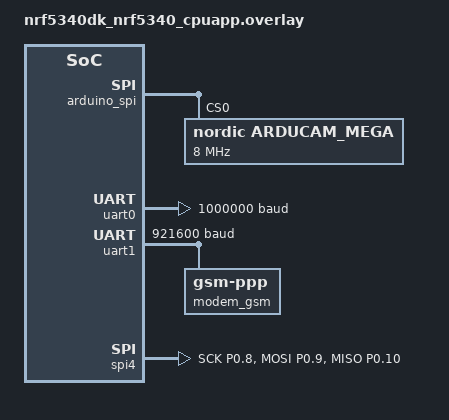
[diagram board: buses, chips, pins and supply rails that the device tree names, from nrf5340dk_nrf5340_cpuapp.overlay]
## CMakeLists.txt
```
# SPDX-License-Identifier: Apache-2.0

cmake_minimum_required(VERSION 3.20.0)
find_package(Zephyr REQUIRED HINTS $ENV{ZEPHYR_BASE})
project(blinky)

if(USE_DUMMY_CREDS)
  set(creds "src/creds/dummy.c")
else()
  if(NOT EXISTS ${APPLICATION_SOURCE_DIR}/src/creds/key.c OR
     NOT EXISTS ${APPLICATION_SOURCE_DIR}/src/creds/cert.c OR
     NOT EXISTS ${APPLICATION_SOURCE_DIR}/src/creds/ca.c)
    message(FATAL_ERROR
        "Credentials not found. Please run "
        "'python3 src/creds/convert_keys.py' before building"
    )
  endif()

  set(creds "src/creds/ca.c" "src/creds/key.c" "src/creds/cert.c")
endif()

target_sources(app PRIVATE "src/main.c")
target_sources(app PRIVATE "src/main_aws.c")
target_sources(app PRIVATE "src/main_camera.c")
target_sources(app PRIVATE "src/main_epoch.c")
target_sources(app PRIVATE "src/main_gsm.c" ${creds})


zephyr_include_directories(${APPLICATION_SOURCE_DIR}/src/tls_config)
```

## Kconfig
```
#
# Copyright (c) 2023 Lucas Dietrich <ld.adecy@gmail.com>
#
# SPDX-License-Identifier: Apache-2.0
#

menu "AWS"
mainmenu "AWS IoT Core MQTT sample application"

config AWS_ENDPOINT
	string "AWS endpoint"
	default ""
	help
		Endpoint (hostname) of the AWS MQTT broker.
		Note that the endpoint is different when using AWS Device Advisor.

config AWS_THING_NAME
	string "AWS Thing name"
	default "myThingName"
	help
		Set the AWS Thing name created on IoT Console

config AWS_SUBSCRIBE_TOPIC
	string "MQTT subscribe topic"
	default "myThingName/downlink"
	help
		MQTT topic the client should subscribe to.

config AWS_PUBLISH_TOPIC
	string "MQTT publish topic"
	default "myThingName/data"
	help
		MQTT topic the client should publish to.

choice AWS_TEST_SUITE
	prompt "Device Advisor test suite"
	default AWS_TEST_SUITE_NONE
	help
		Select the AWS Device Advisor test suite to run.
config AWS_TEST_SUITE_NONE
	bool "No test suite running"
config AWS_TEST_SUITE_DQP
	bool "Device Qualification Program (DQP)"
	help
		Make sure your region supports AWS Device Advisor for DQP
config AWS_TEST_SUITE_RECV_QOS1
	bool "Test suite for receiving QoS 1 messages"
	help
		For single test case "MQTT Client Puack QoS1"
endchoice

config AWS_QOS
	int "MQTT QoS"
	default 0 if AWS_TEST_SUITE_DQP
	default 1 if AWS_TEST_SUITE_RECV_QOS1
	default 0
	range 0 1
	help
		Quality of Service to use for publishing and subscribing to topics.
		Notes:
			- Use QoS 0 when passing DQP test suite
			- QoS 2 is not supported by AWS MQTT broker


config AWS_EXPONENTIAL_BACKOFF
	bool "enable exponential backoff"
	default n if AWS_TEST_SUITE_DQP || AWS_TEST_SUITE_RECV_QOS1
	default y
	help
		Enable AWS exponential backoff for reconnecting to AWS MQTT broker.

endmenu

source "Kconfig.zephyr"
```

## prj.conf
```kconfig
#for serial and logging
CONFIG_LOG=n
CONFIG_SERIAL=n
CONFIG_GPIO=y

CONFIG_LOG_BACKEND_UART=y
CONFIG_SPI=y
CONFIG_ARDUCAM_MEGA=y
CONFIG_STDOUT_CONSOLE=y
CONFIG_FLASH=y

# GSM modem support
CONFIG_MODEM=y
CONFIG_MODEM_GSM_PPP=y
CONFIG_MODEM_GSM_QUECTEL=y

# PPP networking support
CONFIG_NET_DRIVERS=y
CONFIG_NET_PPP=y
CONFIG_NET_L2_PPP=y
CONFIG_NET_NATIVE=y
CONFIG_NETWORKING=y
CONFIG_NET_L2_PPP_TIMEOUT=10000

# AWS
CONFIG_AWS_ENDPOINT="AWS_endpoint"
CONFIG_AWS_THING_NAME="Device_Thing_Name"
CONFIG_AWS_PUBLISH_TOPIC="Publish_Topic"
CONFIG_AWS_TEST_SUITE_DQP=n

CONFIG_MAIN_STACK_SIZE=135000

CONFIG_ENTROPY_GENERATOR=y
CONFIG_TEST_RANDOM_GENERATOR=y
CONFIG_INIT_STACKS=y
CONFIG_HW_STACK_PROTECTION=y
CONFIG_NEWLIB_LIBC=y
CONFIG_POSIX_API=y
CONFIG_POSIX_MAX_FDS=6
CONFIG_SNTP=y

# DNS
CONFIG_DNS_RESOLVER=y
CONFIG_DNS_RESOLVER_ADDITIONAL_BUF_CTR=2
CONFIG_DNS_RESOLVER_MAX_SERVERS=1
CONFIG_DNS_SERVER_IP_ADDRESSES=y
CONFIG_DNS_SERVER1="8.8.8.8"
CONFIG_NET_SOCKETS_DNS_TIMEOUT=5000
CONFIG_DNS_RESOLVER_LOG_LEVEL_DBG=n

# Generic networking options
CONFIG_NET_UDP=y
CONFIG_NET_TCP=y
CONFIG_NET_IPV6=y
CONFIG_NET_IPV4=y
CONFIG_NET_SOCKETS=y
CONFIG_NET_SOCKETS_SOCKOPT_TLS=y

# Network management events
CONFIG_NET_CONNECTION_MANAGER=y

CONFIG_NET_SHELL=y
CONFIG_MODEM_SHELL=y

CONFIG_MODEM_GSM_APN="data.apn.name"
# CONFIG_MODEM_SHELL_INFO=y
CONFIG_MODEM_SIM_NUMBERS=n

# Network buffers
CONFIG_NET_PKT_RX_COUNT=128
CONFIG_NET_PKT_TX_COUNT=128
CONFIG_NET_BUF_RX_COUNT=128
CONFIG_NET_BUF_TX_COUNT=128

#For Baud rate
CONFIG_NET_PPP_RINGBUF_SIZE=16384



# MQTT
CONFIG_MQTT_LIB=y
CONFIG_MQTT_LIB_TLS=y
CONFIG_MQTT_KEEPALIVE=15
CONFIG_AWS_QOS= 1
CONFIG_MBEDTLS=y
CONFIG_MBEDTLS_BUILTIN=y
CONFIG_MBEDTLS_ENABLE_HEAP=y
CONFIG_MBEDTLS_HEAP_SIZE=65536
CONFIG_MBEDTLS_SSL_MAX_CONTENT_LEN=16384
CONFIG_MBEDTLS_PEM_CERTIFICATE_FORMAT=y
CONFIG_MBEDTLS_USER_CONFIG_ENABLE=y
CONFIG_MBEDTLS_USER_CONFIG_FILE="user-tls.h"
CONFIG_MBEDTLS_SERVER_NAME_INDICATION=y
CONFIG_MBEDTLS_TLS_VERSION_1_2=y
CONFIG_MBEDTLS_MEMORY_DEBUG=n


#multithreading
CONFIG_MULTITHREADING=y
CONFIG_DATE_TIME=y
CONFIG_REBOOT=y
CONFIG_DATE_TIME_NTP=n
```

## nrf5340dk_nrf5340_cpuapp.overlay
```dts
&arduino_spi {
	label = "ARDUCAM_MEGA";
	arducam_mega: arducam_mega@0 {
		compatible = "nordic,arducam_mega";
		reg = <0>;
		spi-max-frequency = <8000000>;
	};
};

&uart0 {
	current-speed = <1000000>;
	status = "okay";
};

&pinctrl {
	uart1_default: uart1_default {
		group1 {
			psels = <NRF_PSEL(UART_TX, 1, 10)>;
		};
		group2 {
			psels = <NRF_PSEL(UART_RX, 1, 11)>;
			bias-pull-up;
		};
	};

	uart1_sleep: uart1_sleep {
		group1 {
			psels = <NRF_PSEL(UART_TX, 1, 10)>,
					<NRF_PSEL(UART_RX,1, 11)>;
			low-power-enable;
		};
	};

};
&uart1 {
	status = "okay";
	current-speed = <921600>;  // for US devices it should be 921600
	gsm: gsm-modem {
		status = "okay";
		compatible = "zephyr,gsm-ppp";
		label = "modem_gsm";
	};
};

&pinctrl {
	spi_master_default: spi_master_default {
		group1 {
			psels = <NRF_PSEL(SPIM_SCK, 0, 8)>,
			        <NRF_PSEL(SPIM_MOSI, 0, 9)>,
			        <NRF_PSEL(SPIM_MISO, 0, 10)>;
		};
	};

	spi_master_sleep: spi_master_sleep {
		group1 {
			psels = <NRF_PSEL(SPIM_SCK, 0, 8)>,
			        <NRF_PSEL(SPIM_MOSI, 0, 9)>,
			        <NRF_PSEL(SPIM_MISO, 0, 10)>;
			low-power-enable;
		};
	};
};

my_spi_master: &spi4 {
	compatible = "nordic,nrf-spim";
	status = "okay";
	pinctrl-0 = <&spi_master_default>;
	pinctrl-1 = <&spi_master_sleep>;
	pinctrl-names = "default", "sleep";
	cs-gpios = <&gpio0 11 GPIO_ACTIVE_LOW>;
	// reg_my_spi_master: spi-dev-a@0 {
	// 	reg = <0>;
	// };
};

// &pinctrl {
// 	i2c2_default: i2c2_default {
// 		group1 {
// 			psels = <NRF_PSEL(TWIM_SDA, 1, 2)>,
// 					<NRF_PSEL(TWIM_SCL, 1, 3)>;
// 		};
// 	};

// 	i2c2_sleep: i2c2_sleep {
// 		group1 {
// 			psels = <NRF_PSEL(TWIM_SDA, 1, 2)>,
// 					<NRF_PSEL(TWIM_SCL, 1, 3)>;
// 			low-power-enable;
// 		};
// 	};
// };
// &i2c2 {
// 	compatible = "nordic,nrf-twim";
// 	status = "okay";
// 	clock-frequency = <I2C_BITRATE_STANDARD>;
// 	maxim_max17048@36 {
// 		status = "okay";
// 		compatible = "maxim,max17048";
// 		reg = <0x36>;
// 		label = "MAX17048";
// 	};
// };



// &reset {
// 	status = "okay";
// };

// &ieee802154 {
// 	status = "okay";
// };

// &nvic {
// 	status = "okay";
// };
```

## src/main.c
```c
/*sdk version 2.5.1*/
#include <zephyr/kernel.h>
#include <stdio.h>
#include <string.h>
#include <zephyr/sys/printk.h>
#include <zephyr/drivers/gpio.h>
#include "headers/main_aws.h"
#include "headers/main_camera.h"
#include "headers/main_gsm.h"


// Initialization of led1 for GSM
#define LED1_NODE DT_ALIAS(led1)
static const struct gpio_dt_spec led1 = GPIO_DT_SPEC_GET(LED1_NODE, gpios);


int readIdx = 0x20000;
int writeIdx = 0;
int counter = 0;
int hr = 0;
int currentTime;
int flashLimit = 0x800000;
extern int camLightTime;

static void my_timer_cb(struct k_timer *mytime)
{

	currentTime = k_uptime_get();
	if (currentTime - camLightTime > 60000)
	{
		printk("time difference over 60 sec = %ld\n", currentTime - camLightTime);
		sys_reboot();
	}
	else
	{
		printk("time difference = %ld\n", currentTime - camLightTime);
	}
}

/*GSM requires a 300 msec of pull down to activate itself */
void gsm_enable()
{
	gpio_pin_configure_dt(&led, GPIO_OUTPUT | GPIO_ACTIVE_LOW);
	gpio_pin_set_dt(&led1, 0);
	K_MSEC(300);
	gpio_pin_set_dt(&led1, 1);
	K_MSEC(100);
}
struct k_timer my_timer;
void main(void)
{
	printk("Starting Board! %s\n", CONFIG_BOARD);
	k_timer_init(&my_timer, my_timer_cb, NULL);
	k_timer_start(&my_timer, K_SECONDS(30), K_SECONDS(30));
	init_camera();
	gsm_enable();
	init_gsm(&GSM_CONNECTED, &GSM_DISCONNECTED);
	init_aws();
	AWS_loop();
}
```

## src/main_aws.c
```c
/*sdk version 2.5.1*/

#include "creds/creds.h"
#include "headers/main_aws.h"
#include "headers/main_camera.h"
#include "headers/main_gsm.h"
#include "headers/main_epoch.h"
#include <time.h>
#include <poll.h>
#include <errno.h>
#include <stdio.h>
#include <stdlib.h>
#include <unistd.h>
#include <zephyr/pm/pm.h>
#include <zephyr/device.h>
#include <zephyr/kernel.h>
#include <zephyr/net/mqtt.h>
#include <zephyr/net/sntp.h>
#include <zephyr/sys/printk.h>
#include <zephyr/devicetree.h>
#include <zephyr/logging/log.h>
#include <zephyr/shell/shell.h>
#include <zephyr/net/net_core.h>
#include <zephyr/net/net_mgmt.h>
#include <zephyr/drivers/gpio.h>
#include <zephyr/net/net_event.h>
#include <zephyr/random/rand32.h>
#include <zephyr/net/dns_resolve.h>
#include <zephyr/net/tls_credentials.h>

// Initialization led3 for indication of publishing data to AWS
#define LED3_NODE DT_ALIAS(led3)
static const struct gpio_dt_spec led3 = GPIO_DT_SPEC_GET(LED3_NODE, gpios);

#define GSM_MODEM_NODE DT_COMPAT_GET_ANY_STATUS_OKAY(zephyr_gsm_ppp)
#define UART_NODE DT_BUS(GSM_MODEM_NODE)

static const struct device *const gsm_dev = DEVICE_DT_GET(GSM_MODEM_NODE);
static struct net_mgmt_event_callback mgmt_cb;

#if defined(CONFIG_MBEDTLS_MEMORY_DEBUG)
#include <mbedtls/memory_buffer_alloc.h>
#endif
#include <sys/socket.h>

static bool gsm_connected_aws = false;

#define SNTP_SERVER "0.pool.ntp.org"

#define AWS_BROKER_PORT "8883"

#define MQTT_BUFFER_SIZE 256u
#define APP_BUFFER_SIZE 0u

#define MAX_RETRIES 4u
#define BACKOFF_EXP_BASE_MS 1000u
#define BACKOFF_EXP_MAX_MS 60000u
#define BACKOFF_CONST_MS 5000u

static struct sockaddr_in aws_broker;

static uint8_t rx_buffer[MQTT_BUFFER_SIZE];
static uint8_t tx_buffer[MQTT_BUFFER_SIZE];
static uint8_t buffer[APP_BUFFER_SIZE]; /* Shared between published and received messages */

static struct mqtt_client client_ctx;

static const char mqtt_client_name[] = CONFIG_AWS_THING_NAME;

static uint32_t messages_received_counter;
static bool do_publish;	  /* Trigger client to publish */
static bool do_subscribe; /* Trigger client to subscribe */

#define TLS_TAG_DEVICE_CERTIFICATE 1
#define TLS_TAG_DEVICE_PRIVATE_KEY 1
#define TLS_TAG_AWS_CA_CERTIFICATE 1

extern struct k_mutex flash_mutex;


#define PUBLISH_PAYLOAD_SIZE 131072

extern int readIdx;
extern int writeIdx;
extern int counter;
extern int flashLimit;
K_SEM_DEFINE(ack_done_sem, 0, 1);

#include <stdio.h>
#include <string.h>

#include <zephyr/device.h>
#include <zephyr/devicetree.h>
#include <zephyr/drivers/flash.h>
#include <zephyr/zephyr.h>

static int var_memory = 0;

static sec_tag_t sec_tls_tags[] = {
	TLS_TAG_DEVICE_CERTIFICATE,
};

static int setup_credentials(void)
{
	int ret;

	ret = tls_credential_add(TLS_TAG_DEVICE_CERTIFICATE, TLS_CREDENTIAL_SERVER_CERTIFICATE,
							 public_cert, public_cert_len);
	if (ret < 0)
	{
		printk("Failed to add device certificate: %d", ret);
		goto exit;
	}

	ret = tls_credential_add(TLS_TAG_DEVICE_PRIVATE_KEY, TLS_CREDENTIAL_PRIVATE_KEY,
							 private_key, private_key_len);
	if (ret < 0)
	{
		printk("Failed to add device private key: %d", ret);
		goto exit;
	}

	ret = tls_credential_add(TLS_TAG_AWS_CA_CERTIFICATE, TLS_CREDENTIAL_CA_CERTIFICATE, ca_cert,
							 ca_cert_len);
	if (ret < 0)
	{
		printk("Failed to add device private key: %d", ret);
		goto exit;
	}

exit:
	return ret;
}

static int publish_message(const char *topic, size_t topic_len, uint8_t *payload,
						   size_t payload_len)
{

	static uint32_t message_id = 1u;

	int ret;
	struct mqtt_publish_param msg;

	msg.retain_flag = 0u;
	msg.message.topic.topic.utf8 = topic;
	msg.message.topic.topic.size = topic_len;
	msg.message.topic.qos = CONFIG_AWS_QOS;
	msg.message.payload.data = payload;
	msg.message.payload.len = payload_len;
	msg.message_id = message_id++;

	ret = mqtt_publish(&client_ctx, &msg);
	if (ret != 0)
	{
		printk("Failed to publish message: %d", ret);
		gpio_pin_configure_dt(&led3, GPIO_OUTPUT | GPIO_ACTIVE_LOW);
		gpio_pin_set_dt(&led3, 0);
		k_sleep(K_MSEC(100));
		return ret;
	}
	else
	{
		messages_received_counter++;

		printk("PUBLISHED on topic \"%s\" [ id: %u qos: %u ], payload: %u B", topic, msg.message_id,
			   msg.message.topic.qos, payload_len);
	}

	k_sleep(K_MSEC(500));

	return ret;
}

static ssize_t handle_published_message(const struct mqtt_publish_param *pub)
{
	int ret;
	size_t received = 0u;
	const size_t message_size = pub->message.payload.len;
	const bool discarded = message_size > APP_BUFFER_SIZE;

	printk("RECEIVED on topic \"%s\" [ id: %u qos: %u ] payload: %u / %u B",
		   (const char *)pub->message.topic.topic.utf8, pub->message_id, pub->message.topic.qos,
		   message_size, APP_BUFFER_SIZE);

	while (received < message_size)
	{
		uint8_t *p = discarded ? buffer : &buffer[received];

		ret = mqtt_read_publish_payload_blocking(&client_ctx, p, APP_BUFFER_SIZE);
		if (ret < 0)
		{
			return ret;
		}

		received += ret;
	}

	/* Send ACK */
	switch (pub->message.topic.qos)
	{
	case MQTT_QOS_1_AT_LEAST_ONCE:
	{
		struct mqtt_puback_param puback;

		puback.message_id = pub->message_id;
		mqtt_publish_qos1_ack(&client_ctx, &puback);
	}
	break;
	case MQTT_QOS_2_EXACTLY_ONCE: /* unhandled (not supported by AWS) */
	case MQTT_QOS_0_AT_MOST_ONCE: /* nothing to do */
	default:
		break;
	}

	return discarded ? -ENOMEM : received;
}

const char *mqtt_evt_type_to_str(enum mqtt_evt_type type)
{
	static const char *const types[] = {
		"CONNACK",
		"DISCONNECT",
		"PUBLISH",
		"PUBACK",
		"PUBREC",
		"PUBREL",
		"PUBCOMP",
		"SUBACK",
		"UNSUBACK",
		"PINGRESP",
	};

	return (type < ARRAY_SIZE(types)) ? types[type] : "<unknown>";
}

static void mqtt_event_cb(struct mqtt_client *client, const struct mqtt_evt *evt)
{
	printk("MQTT event: %s [%u] result: %d", mqtt_evt_type_to_str(evt->type), evt->type,
		   evt->result);

	switch (evt->type)
	{
	case MQTT_EVT_CONNACK:
	{
		// do_subscribe = true;
		do_publish = true;
	}
	break;

	case MQTT_EVT_PUBLISH:
	{
		const struct mqtt_publish_param *pub = &evt->param.publish;

		handle_published_message(pub);
		messages_received_counter++;
#if !defined(CONFIG_AWS_TEST_SUITE_RECV_QOS1)
		do_publish = true;
#endif
	}
	break;

	case MQTT_EVT_SUBACK:
	{
#if !defined(CONFIG_AWS_TEST_SUITE_RECV_QOS1)
		do_publish = true;
#endif
	}
	break;

	case MQTT_EVT_PUBACK:
	{
	    /*Receiving Acknowledgement*/
		printk("\nPUBACK received, flash @ %08x -> ", readIdx);
		readIdx = readIdx + PUBLISH_PAYLOAD_SIZE;
		printk("%08x \n", readIdx);
	}
	break;

	case MQTT_EVT_DISCONNECT:
	case MQTT_EVT_PUBREC:
	case MQTT_EVT_PUBREL:
	case MQTT_EVT_PUBCOMP:
	case MQTT_EVT_PINGRESP:
	case MQTT_EVT_UNSUBACK:
	default:
		break;
	}
}

static void aws_client_setup(void)
{
	mqtt_client_init(&client_ctx);

	client_ctx.broker = &aws_broker;
	client_ctx.evt_cb = mqtt_event_cb;

	client_ctx.client_id.utf8 = (uint8_t *)mqtt_client_name;
	client_ctx.client_id.size = sizeof(mqtt_client_name) - 1;
	client_ctx.password = NULL;
	client_ctx.user_name = NULL;

	client_ctx.keepalive = CONFIG_MQTT_KEEPALIVE;

	client_ctx.protocol_version = MQTT_VERSION_3_1_1;

	client_ctx.rx_buf = rx_buffer;
	client_ctx.rx_buf_size = MQTT_BUFFER_SIZE;
	client_ctx.tx_buf = tx_buffer;
	client_ctx.tx_buf_size = MQTT_BUFFER_SIZE;

	/* setup TLS */
	client_ctx.transport.type = MQTT_TRANSPORT_SECURE;
	struct mqtt_sec_config *const tls_config = &client_ctx.transport.tls.config;

	tls_config->peer_verify = TLS_PEER_VERIFY_REQUIRED;
	tls_config->cipher_list = NULL;
	tls_config->sec_tag_list = sec_tls_tags;
	tls_config->sec_tag_count = ARRAY_SIZE(sec_tls_tags);
	tls_config->hostname = CONFIG_AWS_ENDPOINT;
	tls_config->cert_nocopy = TLS_CERT_NOCOPY_NONE;
}

struct backoff_context
{
	uint16_t retries_count;
	uint16_t max_retries;

#if defined(CONFIG_AWS_EXPONENTIAL_BACKOFF)
	uint32_t attempt_max_backoff; /* ms */
	uint32_t max_backoff;		  /* ms */
#endif
};

static void backoff_context_init(struct backoff_context *bo)
{
	__ASSERT_NO_MSG(bo != NULL);

	bo->retries_count = 0u;
	bo->max_retries = MAX_RETRIES;

#if defined(CONFIG_AWS_EXPONENTIAL_BACKOFF)
	bo->attempt_max_backoff = BACKOFF_EXP_BASE_MS;
	bo->max_backoff = BACKOFF_EXP_MAX_MS;
#endif
}

/* https://aws.amazon.com/blogs/architecture/exponential-backoff-and-jitter/ */
static void backoff_get_next(struct backoff_context *bo, uint32_t *next_backoff_ms)
{
	__ASSERT_NO_MSG(bo != NULL);
	__ASSERT_NO_MSG(next_backoff_ms != NULL);

#if defined(CONFIG_AWS_EXPONENTIAL_BACKOFF)
	if (bo->retries_count <= bo->max_retries)
	{
		*next_backoff_ms = sys_rand32_get() % (bo->attempt_max_backoff + 1u);

		/* Calculate max backoff for the next attempt (~ 2**attempt) */
		bo->attempt_max_backoff = MIN(bo->attempt_max_backoff * 2u, bo->max_backoff);
		bo->retries_count++;
	}
#else
	*next_backoff_ms = BACKOFF_CONST_MS;
#endif
}

static int aws_client_try_connect(void)
{
	int ret = -1;
	uint32_t backoff_ms;
	struct backoff_context bo;

	backoff_context_init(&bo);

	while (bo.retries_count <= bo.max_retries)
	{
		ret = mqtt_connect(&client_ctx);
		if (ret == 0)
		{
			/* MQTT  connected */
			gpio_pin_configure_dt(&led3, GPIO_OUTPUT | GPIO_ACTIVE_LOW);
			gpio_pin_set_dt(&led3, 1);
			K_MSEC(100);
			goto exit;
		}

		backoff_get_next(&bo, &backoff_ms);

		printk("Failed to connect: %d backoff delay: %u ms", ret, backoff_ms);
		k_msleep(backoff_ms);
		gpio_pin_configure_dt(&led7, GPIO_OUTPUT | GPIO_ACTIVE_LOW);
		gpio_pin_set_dt(&led7, 0);

		K_MSEC(100);
	}

exit:
	return ret;
}

struct publish_payload
{
	uint32_t counter;
};

int publish(void)
{
	/* The length of data reading from flash is 1024*64 bytes */
	const size_t len = PUBLISH_PAYLOAD_SIZE;

	uint8_t buf[PUBLISH_PAYLOAD_SIZE];

	/* Declaring the buf[64 KB] which stores the data coming from flash inside it. */

	// Defining the flash device.
	const struct device *flash_dev;
	flash_dev = DEVICE_DT_GET(DT_ALIAS(spi_flash0));

	// Checking if the device is ready or not.
	if (!device_is_ready(flash_dev))
	{
		printk("%s: device not ready.\n", flash_dev->name);
	}

	int rc;
	memset(buf, 0, len);

	if (readIdx >= flashLimit)
	{
		readIdx = 0;
	}

	printk("flash reading from index: %08x \n", readIdx);
	rc = flash_read(flash_dev, readIdx, buf, len);

	if (rc != 0)
	{
		printf("Flash read failed! %d\n", rc);
		return 1; // Return an error code
	}

	// log the buffer;s initial 16 bytes
	printk("\npublishing head:");
	// imgID, DEV_ID, FragID, TotalFrag
	printk("%02x(%d) %02x %02x %02x \n\n", buf[14], buf[14], buf[1], buf[2], buf[3]);

	int pub_ret = -1;

	pub_ret = publish_message(CONFIG_AWS_PUBLISH_TOPIC, strlen(CONFIG_AWS_PUBLISH_TOPIC), buf,
							  len);

	k_msleep(100);

	return pub_ret;
}

void aws_client_loop(void)
{
	int rc;
	int timeout;
	struct pollfd fds;

	printk("setting up client\n");
	aws_client_setup();
	printk("client setup done\n");

	if (gsm_connected_aws)
	{
		printk("GSM_CONNECTED_AWS ..............\n");
		printk("connecting...\n");
		rc = aws_client_try_connect();

		if (rc != 0)
		{
			goto cleanup;
		}
	}
	else
	{
		goto cleanup;
	}

	printk("client connected\n");

	fds.fd = client_ctx.transport.tcp.sock;
	fds.events = POLLIN | POLLHUP | POLLERR;

	for (;;)
	{
		printk("\nTrying publishing....\n");
		timeout = mqtt_keepalive_time_left(&client_ctx);
		rc = poll(&fds, 1u, timeout);
		if (rc >= 0)
		{
			if (fds.revents & POLLIN)
			{
				rc = mqtt_input(&client_ctx);
				if (rc != 0)
				{
					printk("Failed to read MQTT input: %d\n", rc);
					/* MQTT not connected */
					break;
				}
			}

			rc = mqtt_live(&client_ctx);
			if ((rc != 0) && (rc != -EAGAIN))
			{
				printk("Failed to live MQTT: %d\n", rc);
				/* MQTT not connected */

				break;
			}
		}
		else
		{
			printk("poll failed: %d", rc);
			break;
		}

		if (do_publish)
		{
			printk("\ndo publish true! \n\n");
			while (1)
			{

				if (writeIdx < readIdx)
				{
					var_memory = flashLimit;
				}
				else
				{
					var_memory = 0;
				}
				/*Continuously checks the flash before publishing*/
				if (writeIdx - readIdx + var_memory >= PUBLISH_PAYLOAD_SIZE)
				{
					break;
				}
				k_msleep(100);
			}

			{
				printk("\n publishing data address: %08x \n", readIdx);
				publish();
			}
		}
	}

cleanup:
	mqtt_disconnect(&client_ctx);
	close(fds.fd);
	fds.fd = -1;
}

int sntp_sync_time(void)
{

	int rc;
	struct sntp_time now;
	struct timespec tspec;

	rc = sntp_simple(SNTP_SERVER, SYS_FOREVER_MS, &now);
	printk("\n Value in SNTP = %x\n", now.seconds);
	if (rc == 0)
	{
		printk("\n Value in SNTP = %d", now.seconds);
		tspec.tv_sec = now.seconds;
		tspec.tv_nsec = ((uint64_t)now.fraction * (1000lu * 1000lu * 1000lu)) >> 32;

		clock_settime(CLOCK_REALTIME, &tspec);

		printk("Acquired time from NTP server: %u", (uint32_t)tspec.tv_sec);
	}
	else
	{
		printk("Failed to acquire SNTP, code %d\n", rc);
	}
	return rc;
}

static int resolve_broker_addr(struct sockaddr_in *broker)
{
	int ret;
	struct zsock_addrinfo *ai = NULL;

	const struct zsock_addrinfo hints = {
		.ai_family = AF_INET,
		.ai_socktype = SOCK_STREAM,
		.ai_protocol = 0,
	};

	ret = zsock_getaddrinfo(CONFIG_AWS_ENDPOINT, AWS_BROKER_PORT, &hints, &ai);

	if (ret == 0)
	{
		printk("copying memory\n");
		memcpy(broker, ai->ai_addr, MIN(ai->ai_addrlen, sizeof(struct sockaddr_storage)));

		char addr_str[INET_ADDRSTRLEN];

		zsock_inet_ntop(AF_INET, &broker->sin_addr, addr_str, sizeof(addr_str));
		printk("Resolved: %s:%u", addr_str, htons(broker->sin_port));
	}
	else
	{
		//nothing to do
	}

	zsock_freeaddrinfo(ai);

	return ret;
}

void init_aws(void)
{
	printk("Init... aws\n");

	dns_init_resolver();

	sntp_sync_time();

	setup_credentials();

	printk("Initialised aws\n");
}

void GSM_CONNECTED(void)
{
	gsm_connected_aws = true;
}

void GSM_DISCONNECTED(void)
{
	gsm_connected_aws = false;
}

void AWS_loop(void)
{

	for (;;)
	{
		resolve_broker_addr(&aws_broker);
		aws_client_loop();
#if defined(CONFIG_MBEDTLS_MEMORY_DEBUG)
		size_t cur_used, cur_blocks, max_used, max_blocks;

		mbedtls_memory_buffer_alloc_cur_get(&cur_used, &cur_blocks);
		mbedtls_memory_buffer_alloc_max_get(&max_used, &max_blocks);
		printk("mbedTLS heap usage: MAX %u/%u (%u) CUR %u (%u)", max_used,
			   CONFIG_MBEDTLS_HEAP_SIZE, max_blocks, cur_used, cur_blocks);
#endif

		k_sleep(K_SECONDS(1));
	}

	return;
}
```

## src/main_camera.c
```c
/*sdk version 2.5.1*/
#include "headers/cam_headers/arducam_mega.h"
#include "headers/main_aws.h"
#include "headers/main_camera.h"
#include "headers/main_gsm.h"
#include "headers/main_epoch.h"
#include <string.h>
#include <zephyr/device.h>
#include <zephyr/devicetree.h>
#include <zephyr/drivers/flash.h>
#include <zephyr/kernel.h>
#include <zephyr/logging/log.h>
#include <zephyr/net/sntp.h>
#include <zephyr/sys/printk.h>
#include <zephyr/zephyr.h>

#include <date_time.h>
#include <zephyr/drivers/gpio.h>
#include <zephyr/pm/pm.h>
#include <stdio.h>
#include <time.h>

// Flash Sector Size
#define SPI_FLASH_SECTOR_SIZE 4096
// MQTT Payload Size
#define FRAGMENT_SIZE 131072

#define DEV_ID 0x28
#define GRP_ID 0x01

#define CHUNK_SIZE 128

#define STACKSIZE 8192
#define CAMERA_THREAD_PRIORITY 7

/* Defining the mutex as to lock the flash while reading and writing and then unlocking it. */
K_MUTEX_DEFINE(flash_mutex);

#define LED1_NODE DT_ALIAS(led0)
static const struct gpio_dt_spec led1 = GPIO_DT_SPEC_GET(LED1_NODE, gpios);

extern int writeIdx;
extern int flashLimit;
extern int counter;
int writeIdxOld = 0;
int memVar = 0;

int cam_light_time;
static uint8_t battery_percentage = 0;

const struct device *camera_device;
const struct device *flash_dev;
// const struct device *const battery_dev = DEVICE_DT_GET_ANY(maxim_max17048);

static uint8_t image_id_counter = 0;
extern int hr;
int sleep_time = 3; // must be -5:30 hrs  14 for 7:30 pm INDIA ||  1 is for 6:00pm in USA
int wakeup_time = 15; // must be -5:30 hrs  24  for 5:30 am INDIA ||12 is for 5:00am in US

void camera_start(void)
{
	gpio_pin_configure_dt(&led1, GPIO_OUTPUT | GPIO_ACTIVE_LOW);
	int rc; // to store return values of functions
	int epochArr[10] = {0};

	while (1)
	{
		uint8_t time_arr[10];
		setting_epoch();
		get_epoch(epochArr);
		printk("hr is %d\n:", hr);
		/*this loop is for the sleep at night time*/

		if (hr != 0)
		{

			while ((sleep_time < wakeup_time && hr >= sleep_time && hr < wakeup_time) ||
				   (sleep_time > wakeup_time && (hr >= sleep_time || hr < wakeup_time)))
			{
				printk("\nIt's sleep time : ");
				printk("%d", hr);
				k_sleep(K_SECONDS(30));
				cam_light_time = k_uptime_get();
				setting_epoch();
				get_epoch(epochArr);
			}
		}

		printf("Attempting to take picture...\n\n ");

		gpio_pin_set_dt(&led1, 1);
		K_MSEC(200);
		cam_light_time = k_uptime_get();

		arducam_mega_take_picture(camera_device, CAM_IMAGE_MODE_HD, CAM_IMAGE_PIX_FMT_JPG);

		image_id_counter = ((image_id_counter) % 255) + 1;

		gpio_pin_set_dt(&led1, 0);
		K_MSEC(200);

		// Initializing camera buffer 128bytes
		uint8_t cam_buff[CHUNK_SIZE];

		// Initialization variables for storing total bytes read from camera buffer
		// and number of times loop executed to read 128 bytes
		uint8_t bytes_read;
		uint16_t number_of_times_loop = 0;

		do
		{

			/* Erasing flash with sector size defined above */
			if (writeIdx % SPI_FLASH_SECTOR_SIZE == 0)
			{

				if (writeIdx >= flashLimit)
				{
					writeIdx = 0;
				}

				k_mutex_lock(&flash_mutex, K_FOREVER);
				rc = flash_erase(flash_dev, writeIdx, SPI_FLASH_SECTOR_SIZE);
				k_mutex_unlock(&flash_mutex);

				if (rc != 0)
				{
					printk("Flash erase failed with error code %d\n", rc);
					return;
				}

				// Leaving 1024 bytes at staring of each 128KB for overhead detiles of images later
				if (writeIdx % FRAGMENT_SIZE == 0)
				{

					writeIdx = writeIdx + CHUNK_SIZE;
				}
			}

			/* reading CHUNK_SIZE bytes of data from the camera and storing it in */

			bytes_read = arducam_mega_read_image_buf(camera_device, cam_buff, CHUNK_SIZE);
			const size_t leng = sizeof(cam_buff);
			k_mutex_lock(&flash_mutex, K_FOREVER);
			rc = flash_write(flash_dev, writeIdx, cam_buff, leng);
			k_mutex_unlock(&flash_mutex);
			if (rc != 0)
			{
				printk("Flash write failed with error code %d\n", rc);
				return;
			} 

			// Increasing flash memory 128bytes to store next 128bytes of camera buffer
			writeIdx = writeIdx + CHUNK_SIZE;
			number_of_times_loop++;
			if (number_of_times_loop >= 6400)
				sys_reboot();

		} while (bytes_read > 0);

		// Calculating value of memory address (i1) in flash at which
		// last byte of data of camera buffer is stored
		int next_sector_offset = (writeIdx % FRAGMENT_SIZE);

		// Increasing the index of flash memory to starting of next 16KB
		writeIdx = writeIdx + (FRAGMENT_SIZE - next_sector_offset);

		// Dividing i1 with 	128 as to take just 1 byte of memory in flash
		// it is valid for upto value 32640
		uint16_t next_sector_offset_enc = next_sector_offset / 512;

		// Initializing the id of first chunk to 1
		int FRAG_ID = 1;

		// Check whether the write index is jump to 0 location again
		if (writeIdxOld > writeIdx)
		{

			memVar = flashLimit;
		}
		else
		{

			memVar = 0;
		}

		// Calculating total fragment of 16KB made for stoing an image
		int TOTAL_FRAG = (memVar + writeIdx - writeIdxOld) / FRAGMENT_SIZE;

		// Initializing a variable to get the index of overhead which is at stating of each 16KB
		int TOTAL_FRAG_LOOP = TOTAL_FRAG;
		printk("TOTAL FRAG %d \n", TOTAL_FRAG);

		// Reassiging the current write index value to another variable to calculate
		// the difference of memory consumed for next time
		writeIdxOld = writeIdx;

		// Loop to get index of overhead loccation
		while (TOTAL_FRAG_LOOP > 0)
		{

			int OV_loc = writeIdx - (TOTAL_FRAG_LOOP * FRAGMENT_SIZE);

			// Check when some part of image is saved at end of flash
			// and rest of part is saved at top
			// in that case the overhead location will be negative
			if (OV_loc < 0)
			{

				OV_loc = flashLimit + OV_loc;
			}

			uint8_t arr_oh[32] = {0}; // array to store the 16 bytes of overhead
			arr_oh[0] = next_sector_offset_enc;
			arr_oh[1] = DEV_ID;
			arr_oh[2] = FRAG_ID;
			arr_oh[3] = TOTAL_FRAG;

			// appending the timestamp as 10 bytes into the overhead array to be written
			// in the memory

			for (int i = 0; i < 10; i++)
				arr_oh[i + 4] = epochArr[i];

			// set the image id counter
			arr_oh[14] = image_id_counter;
			arr_oh[15] = GRP_ID;
			const size_t leng = sizeof(arr_oh);

			// offset writeIdx_oh must be a multiple of 4 since the minimum write
			k_mutex_lock(&flash_mutex, K_FOREVER);
			rc = flash_write(flash_dev, OV_loc, arr_oh, leng);
			k_mutex_unlock(&flash_mutex);
			if (rc != 0)
			{
				printk("Flash write for sector offset failed with error code %d\n", rc);
				return;
			}
			TOTAL_FRAG_LOOP = TOTAL_FRAG_LOOP - 1;
			FRAG_ID = FRAG_ID + 1; // increasing image ID
		}
		printf("Going to sleep for 20 sec.\n");
		k_sleep(K_SECONDS(20));
	}
}

void init_camera(void)
{
	// Initializing flash memory
	flash_dev = DEVICE_DT_GET(DT_ALIAS(spi_flash0));

	if (!device_is_ready(flash_dev))
	{
		printk("ERROR: %s: device not ready.\n", flash_dev->name);
		return;
	}

	// Initializing camera device
	camera_device = device_get_binding(DT_NODE_FULL_NAME(DT_NODELABEL(arducam_mega)));
	if (camera_device == 0)
	{
		printk("ERROR: Camera device not found!\n");
		return;
	}

	printk("Camera Module Initialsied successfully!!\n");
}

// start the thread immediately
K_THREAD_DEFINE(camera_thread_id, STACKSIZE, camera_start, NULL, NULL, NULL, CAMERA_THREAD_PRIORITY,
				0, 0);
```

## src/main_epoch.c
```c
#include "headers/cam_headers/arducam_mega.h"
#include "headers/main_aws.h"
#include "headers/main_camera.h"
#include "headers/main_gsm.h"
#include "headers/main_epoch.h"

#include <string.h>

#include <zephyr/device.h>
#include <zephyr/devicetree.h>
#include <zephyr/drivers/flash.h>
#include <zephyr/kernel.h>
#include <zephyr/logging/log.h>
#include <zephyr/net/sntp.h>
#include <zephyr/sys/printk.h>
#include <zephyr/zephyr.h>

#include <date_time.h>
#include <zephyr/device.h>
#include <zephyr/drivers/gpio.h>
#include <zephyr/pm/pm.h>
#include <zephyr/zephyr.h>

#include <stdio.h>
#include <time.h>

static int connection_flag = 0;
static int64_t adv_seconds = 0;
extern int hr;

void setting_epoch(void)
{
    struct tm adv_time;
    /* Data validation in if statement date can be between 0 and 31. Hour can be in 0 and 24 and seconds can be less than 60. */
    if (connection_flag < 1 && date_1byte() >= 0 && date_1byte() <= 31 && hour_1byte() >= 0 && hour_1byte() <= 24 && sec_1byte() <= 60)
    {
        /* Adding the time stamp is struct tm adv_time. */
        adv_time.tm_year = year_1byte();
        adv_time.tm_hour = hour_1byte();
        adv_time.tm_min = min_1byte();
        adv_time.tm_mon = mon_1byte();
        adv_time.tm_sec = sec_1byte();
        adv_time.tm_mday = date_1byte();

        // struct tm *timeinfo = adv_time.tm_hour;
        // hr = hour_1byte();
        /* Setting the adv_time as reference time */
        date_time_set(&adv_time);

        /* Time updation for real time access. */
        int error = date_time_update_async(NULL);

        /* To make it run only once. */
        connection_flag++;
    }
    /* Time Updation either Uptime or Epoch time. */
    /* adv_seconds contains the time since epoch unix (1 jan 1970) with resolution in milliseconds. */
    // int64_t adv_seconds = 0;
    /* If the GSM is not connected then this piece will use the k_uptime_get() (--> that is the time (in ms ) after system reboot.) as the time stamp. */
    if (connection_flag < 1)
    {
        // printk("in uptime get");

        /*  In case the GSM is not connected after the system REBOOT.
            Getting the uptime and storing it in the same variable as adv_seconds.
            Resolution of k_uptime_get() is in ms. */
        adv_seconds = 0;
    }
    else
    {
        /* To update the time whenever the advertising packet from node is recieved and then using them as time stamp. */
        // printk("epoch time updated\n");
        date_time_now(&adv_seconds);
    }
}

void get_epoch(int arr[])
{
    /* divisor epoch is 10^13. */
    int t_arr[10]={0};
    int64_t divisor_epoch = 1000000000000;
    k_msleep(100);
    // printk("Epoch Time is: ");
    for (int epoch = 0; epoch < 10; epoch++)
    {
        /* Appending the time stamp in  write_array at the last. Only once single digit number goes at one time. */
        arr[epoch] = (uint8_t)((adv_seconds / divisor_epoch) % 10);
        // printk("%d",arr[epoch]);

        /* Going to lower indices side by side. */
        divisor_epoch = divisor_epoch / 10;
        t_arr[epoch]=arr[epoch];
    }
    // printk("\n\n");
    char time_str[11]; // Adjust the size based on your needs
    int offset = 0;    // Offset in the string

    for (int i = 0; i < 10; ++i)
    {
        // Append each element to the string
        offset += sprintf(time_str + offset, "%u", t_arr[i]);
    }

    time_str[sizeof(time_str) - 1] = '\0';

    /*Converting string array to integer*/
    int result = atoi(time_str);

    time_t epoch_time = result;
    struct tm *timeinfo = gmtime(&epoch_time);
    hr = ((timeinfo->tm_hour) % 24);
}
```

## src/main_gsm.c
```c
/*sdk version 2.5.1*/
#include <zephyr/kernel.h>
#include <zephyr/sys/printk.h>
#include <zephyr/shell/shell.h>
#include <zephyr/drivers/uart.h>
#include <zephyr/net/net_mgmt.h>
#include <zephyr/net/net_event.h>
#include <zephyr/net/net_core.h>
#include <zephyr/devicetree.h>
#include <zephyr/net/ppp.h>
#include <zephyr/drivers/modem/gsm_ppp.h>
#include <zephyr/logging/log.h>
#include "headers/main_aws.h"
#include "headers/main_camera.h"
#include "headers/main_epoch.h"
#include "headers/main_gsm.h"

/* GPIO led code */
#include <zephyr/drivers/gpio.h>
#include <zephyr/pm/pm.h>
#include <zephyr/device.h>


// Initialization led2 for GSM connected
#define LED2_NODE DT_ALIAS(led2)
static const struct gpio_dt_spec led2 = GPIO_DT_SPEC_GET(LED2_NODE, gpios);


#define GSM_MODEM_NODE DT_COMPAT_GET_ANY_STATUS_OKAY(zephyr_gsm_ppp)
#define UART_NODE DT_BUS(GSM_MODEM_NODE)

static const struct device *const gsm_dev = DEVICE_DT_GET(GSM_MODEM_NODE);
static struct net_mgmt_event_callback mgmt_cb;

static void (*gsm_connected_gsm)();
static void (*gsm_disconnected_gsm)();

static void event_handler(struct net_mgmt_event_callback *cb,
						  uint32_t mgmt_event, struct net_if *iface)
{
	ARG_UNUSED(cb);
	ARG_UNUSED(iface);

	if ((mgmt_event & (NET_EVENT_L4_CONNECTED | NET_EVENT_L4_DISCONNECTED)) != mgmt_event)
	{
		return;
	}

	if (mgmt_event == NET_EVENT_L4_CONNECTED)
	{
		printk("Network connected");
		(*gsm_connected_gsm)(NULL);
		printk("LED 4 IS HIGH\n");
		gpio_pin_configure_dt(&led2, GPIO_OUTPUT | GPIO_ACTIVE_LOW);
		gpio_pin_set_dt(&led2, 1);
		K_MSEC(100);
		//(void)gsm_query_local_time(gsm_dev);
		return;
	}

	if (mgmt_event == NET_EVENT_L4_DISCONNECTED)
	{
		printk("Network disconnected");
		(*gsm_disconnected_gsm)(NULL);
		printk("LED 4 IS LOW\n");
		gpio_pin_configure_dt(&led2, GPIO_OUTPUT | GPIO_ACTIVE_LOW);
		gpio_pin_set_dt(&led2, 0);
		K_MSEC(100);
		return;
	}
}

static void modem_on_cb(const struct device *dev, void *user_data)
{
	ARG_UNUSED(dev);
	ARG_UNUSED(user_data);

	// printk("GSM modem on callback fired");
}

static void modem_off_cb(const struct device *dev, void *user_data)
{
	ARG_UNUSED(dev);
	ARG_UNUSED(user_data);

	// printk("GSM modem off callback fired");
}

void init_gsm(void *gsm_connected, void *gsm_disconnected)
{
	printk("Intializing GSM.....\n");
	gsm_connected_gsm = gsm_connected;
	gsm_disconnected_gsm = gsm_disconnected;

	const struct device *uart_dev = DEVICE_DT_GET(UART_NODE);

	/* Optional register modem power callbacks */
	gsm_ppp_register_modem_power_callback(gsm_dev, modem_on_cb, modem_off_cb, NULL);

	printk("APN '%s' UART '%s' device %p (%s)\n",CONFIG_MODEM_GSM_APN,
		   uart_dev->name, uart_dev, gsm_dev->name);

	net_mgmt_init_event_callback(&mgmt_cb, event_handler,
								 NET_EVENT_L4_CONNECTED |
									 NET_EVENT_L4_DISCONNECTED);
	net_mgmt_add_event_callback(&mgmt_cb);

	printk("____GSM Initialized___\n");
}
```
